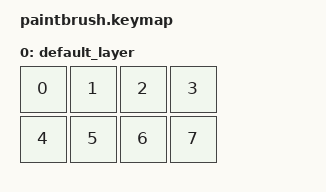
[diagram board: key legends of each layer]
#include <behaviors.dtsi>
#include <dt-bindings/zmk/keys.h>

/ {
    behaviors {
    };
    keymap {
        compatible = "zmk,keymap";

        default_layer {
            bindings = <
// ╭──────────┬──────────┬──────────┬──────────╮
      &kp N0     &kp N1     &kp N2     &kp N3
// ├──────────┼──────────┼──────────┼──────────┤
      &kp N4     &kp N5     &kp N6     &kp N7
// ╰──────────┴──────────┴──────────┴──────────╯
            >;
        };
    };
};
